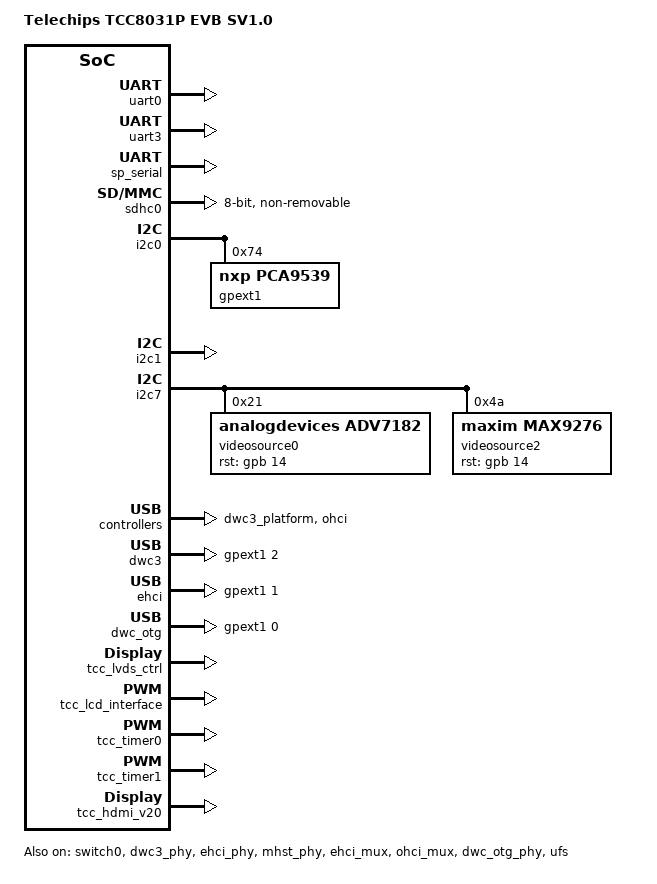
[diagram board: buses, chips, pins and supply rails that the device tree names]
// SPDX-License-Identifier: (GPL-2.0-or-later OR MIT)
/*
 * Copyright (C) Telechips Inc.
 */

/dts-v1/;

#include "tcc803x.dtsi"
#include "tcc8030-pinctrl.dtsi"

/ {
	model = "Telechips TCC8031P EVB SV1.0";
	board-id = <TCC_BOARD_ID_TCC8030_EVB>;
	board-rev = <0x1>;
	interrupt-parent = <&gic0>;
};

&chosen {
	stdout-path = &uart0;
};

&cpus {
	cpu@0 {
		status = "okay";
	};
};

&gic0 {
	status = "okay";
};

&uart0 {
	pinctrl-names = "default";
	pinctrl-0 = <&uart18_data>;
	status = "okay";
	u-boot,dm-pre-reloc;
};

/* SP UART */
&uart3 {
	pinctrl-names = "default";
	pinctrl-0 = <&uart9_data>;
	status = "okay";
	u-boot,dm-pre-reloc;
};

&sp_serial {
	status = "okay";
	serial_sel = <&uart3>;
	u-boot,dm-pre-reloc;
};

#if 0
&mbox0 {
	status = "okay";
	u-boot,dm-pre-reloc;
};
#endif

/* eMMC */
&sdhc0 {
	pinctrl-names = "default";
	pinctrl-0 = <&sd0_clk>, <&sd0_cmd>, <&sd0_bus8>;
	bus-width = <8>;
	status = "okay";
	max-frequency = <200000000>;

	tcc-mmc-taps = <0xF 0xF 0xF 0xF>;

	non-removable;
	mmc-hs200-1_8v;
};

&i2c0 {
	pinctrl-names = "default";
	pinctrl-0 = <&i2c11_bus>;
	port-mux = <11>;
	status = "okay";

	gpext1: tca9539@74 {
		compatible = "nxp,pca9539";
		reg = <0x74>;
		gpio-controller;
		#gpio-cells = <2>;
		label = "gpext1";

		status = "okay";
	};
};

&i2c1 {
	pinctrl-names = "default";
	pinctrl-0 = <&i2c6_bus>;
	port-mux = <6>;
	status = "okay";
};

&i2c7 {
	pinctrl-names = "default";
	pinctrl-0 = <&i2c12_bus>;
	port-mux = <12>;
	status = "okay";

	videosource0: videodecoder_adv7182 {
		compatible	= "analogdevices,adv7182";
		pinctrl-names	= "idle", "active";
		pinctrl-0	= <&cam0_idle>;
		pinctrl-1	= <&cam0_rst &cam0_clk &cam0_hsync &cam0_vsync
				   &cam0_fld &cam0_de &cam0_data>;
		rst-gpios	= <&gpb 14 GPIO_ACTIVE_HIGH>;
		reg		= <0x21>;	// 0x42 >> 1
		cifport		= <0>;
	};
#if 1
	videosource2: deserializer_max9276 {
		compatible	= "maxim,max9276";
		pinctrl-names	= "idle", "active";
		pinctrl-0	= <&cam0_idle>;
		pinctrl-1	= <&cam0_rst &cam0_clk &cam0_hsync &cam0_vsync
				   &cam0_fld &cam0_de &cam0_data>;
		rst-gpios	= <&gpb 14 GPIO_ACTIVE_HIGH>;
		reg		= <0x4A>;	// 0x94 >> 1
		cifport		= <0>;
	};
#else
	videosource2: deserializer_max9276 {
		compatible	= "maxim,max9276";
		pinctrl-names	= "idle", "active";
		pinctrl-0	= <&cam1_idle>;
		pinctrl-1	= <&cam1_rst &cam1_clk &cam1_hsync &cam1_vsync
				   &cam1_fld &cam1_de &cam1_data>;
		rst-gpios	= <&gpma 21 GPIO_ACTIVE_HIGH>;
		reg		= <0x4A>;	// 0x94 >> 1
		cifport		= <1>;
	};
#endif
};

&switch0 {
	status = "okay";

	pinctrl-names = "default";
	pinctrl-0 = <&switch_c13>;

	switch-gpios = <&gpc 13 1>;
	switch-active = <1>;
};

&dwc3_phy {
	status = "okay";
};

&dwc3_platform {
	status = "okay";
};

&dwc3 {
	use_expander;
	gpios = <&gpext1 2 0>;
	status = "okay";
};

&ehci_phy {
	status = "okay";
};

&mhst_phy {
	status = "okay";
};

&ehci {
	use_expander;
	gpios = <&gpext1 1 0>;
	status = "okay";
};

&ehci_mux {
	use_expander;
	gpios = <&gpext1 0 0>;
	status = "okay";
};

&ohci {
	status = "okay";
};

&ohci_mux {
	status = "okay";
};

&dwc_otg_phy {
	status = "okay";
};

&dwc_otg {
	use_expander;
	gpios = <&gpext1 0 0>;
	status= "okay";
};

&tcc_lvds_ctrl{
	mboxes = <&multi_mbox0 1>;
	status = "okay";
};

&tcc_lcd_interface{
	board-type = <0>; // tcc803xpe
	status = "okay";
};

&ufs{
	status = "okay";
};

&tcc_timer0 {
	/* dummy timer */
	status = "okay";
};

&tcc_timer1 {
	/* for earlycamera */
	status = "okay";
};

&tcc_hdmi_v20 {
	pinctrl-names = "default";
	pinctrl-0 = <&hdmi_ddc_pins &hdmi_hpd_pins>;
	status = "okay";
};
